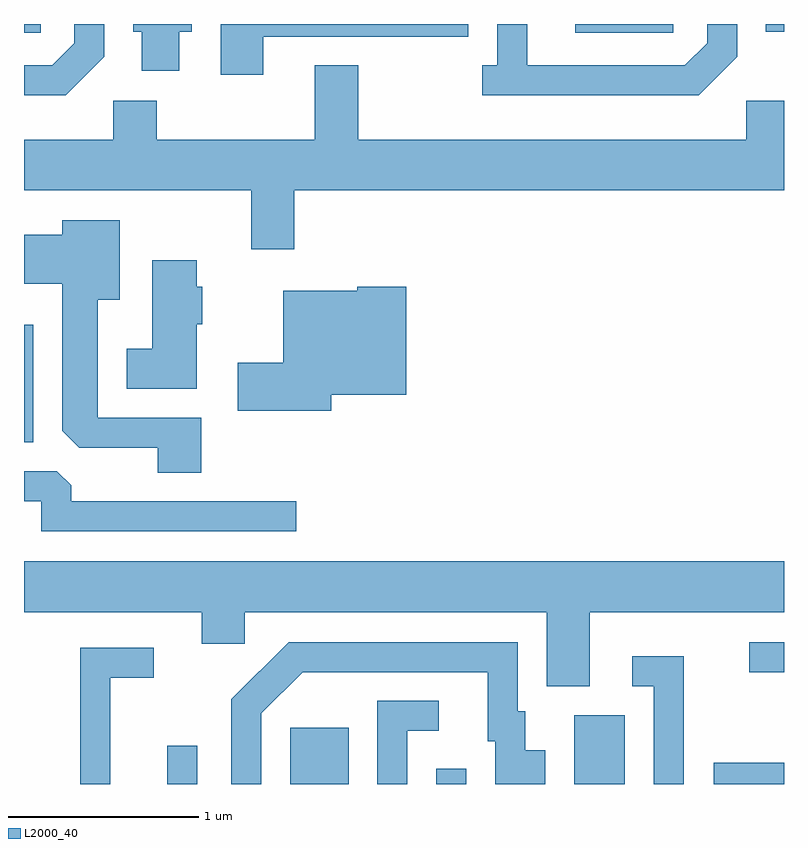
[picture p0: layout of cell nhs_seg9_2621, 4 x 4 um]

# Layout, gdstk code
import gdstk
lib = gdstk.Library(unit=1e-6, precision=1e-09)
def R(c, l, rs):  # rectangles x0, y0, x1, y1
    for r in rs: c.add(gdstk.rectangle(r[:2], r[2:], *l))
def P(c, l, *ps):  # polygons
    for p in ps: c.add(gdstk.Polygon(p, *l))
L2000_40 = (2000, 40)

nhs_seg9_2621 = lib.new_cell('nhs_seg9_2621')
R(nhs_seg9_2621, L2000_40, [(262.366,2026.432,262.524,2026.633), (263.011,2026.432,263.319,2026.729), (263.781,2026.432,263.939,2026.513), (264.506,2026.432,264.774,2026.794), (265.241,2026.432,265.611,2026.544), (265.428,2027.021,265.611,2027.179), (261.611,2028.231,261.659,2028.849), (261.611,2030.386,261.699,2030.432), (264.513,2030.386,265.029,2030.432), (265.516,2030.391,265.611,2030.432)])
P(nhs_seg9_2621, L2000_40, [(265.364,2030.259),(265.364,2030.432),(265.206,2030.432),(265.206,2030.332),(265.089,2030.214),(264.259,2030.214),(264.259,2030.432),(264.101,2030.432),(264.101,2030.214),(264.023,2030.214),(264.023,2030.056),(265.162,2030.056)],
  [(262.034,2030.259),(262.034,2030.432),(261.876,2030.432),(261.876,2030.332),(261.759,2030.214),(261.611,2030.214),(261.611,2030.056),(261.832,2030.056)],
  [(262.869,2030.366),(263.949,2030.366),(263.949,2030.432),(262.646,2030.432),(262.646,2030.166),(262.869,2030.166)],
  [(262.429,2030.391),(262.494,2030.391),(262.494,2030.432),(262.186,2030.432),(262.186,2030.391),(262.231,2030.391),(262.231,2030.186),(262.429,2030.186)],
  [(263.034,2029.556),(265.611,2029.556),(265.611,2030.029),(265.411,2030.029),(265.411,2029.824),(263.369,2029.824),(263.369,2030.214),(263.141,2030.214),(263.141,2029.824),(262.309,2029.824),(262.309,2030.029),(262.081,2030.029),(262.081,2029.824),(261.611,2029.824),(261.611,2029.556),(262.806,2029.556),(262.806,2029.246),(263.034,2029.246)],
  [(262.544,2028.359),(261.999,2028.359),(261.999,2028.981),(262.114,2028.981),(262.114,2029.399),(261.811,2029.399),(261.811,2029.324),(261.611,2029.324),(261.611,2029.066),(261.811,2029.066),(261.811,2028.292),(261.902,2028.201),(262.316,2028.201),(262.316,2028.071),(262.544,2028.071)],
  [(262.519,2028.851),(262.549,2028.851),(262.549,2029.049),(262.519,2029.049),(262.519,2029.189),(262.286,2029.189),(262.286,2028.724),(262.151,2028.724),(262.151,2028.511),(262.519,2028.511)],
  [(263.229,2028.481),(263.624,2028.481),(263.624,2029.049),(263.366,2029.049),(263.366,2029.029),(262.976,2029.029),(262.976,2028.649),(262.736,2028.649),(262.736,2028.396),(263.229,2028.396)],
  [(263.043,2027.919),(261.859,2027.919),(261.859,2028.004),(261.784,2028.079),(261.611,2028.079),(261.611,2027.921),(261.701,2027.921),(261.701,2027.761),(263.043,2027.761)],
  [(264.589,2027.336),(265.611,2027.336),(265.611,2027.604),(261.611,2027.604),(261.611,2027.336),(262.546,2027.336),(262.546,2027.171),(262.774,2027.171),(262.774,2027.336),(264.361,2027.336),(264.361,2026.946),(264.589,2026.946)],
  [(262.859,2026.804),(263.077,2027.021),(264.051,2027.021),(264.051,2026.656),(264.091,2026.656),(264.091,2026.432),(264.354,2026.432),(264.354,2026.609),(264.249,2026.609),(264.249,2026.814),(264.209,2026.814),(264.209,2027.179),(263.004,2027.179),(262.701,2026.877),(262.701,2026.432),(262.859,2026.432)],
  [(262.064,2026.991),(262.293,2026.991),(262.293,2027.149),(261.906,2027.149),(261.906,2026.432),(262.064,2026.432)],
  [(265.084,2027.104),(264.813,2027.104),(264.813,2026.946),(264.926,2026.946),(264.926,2026.432),(265.084,2026.432)],
  [(263.629,2026.711),(263.793,2026.711),(263.793,2026.869),(263.471,2026.869),(263.471,2026.432),(263.629,2026.432)])

lib.write_gds('nhs_seg9_2621.gds')
